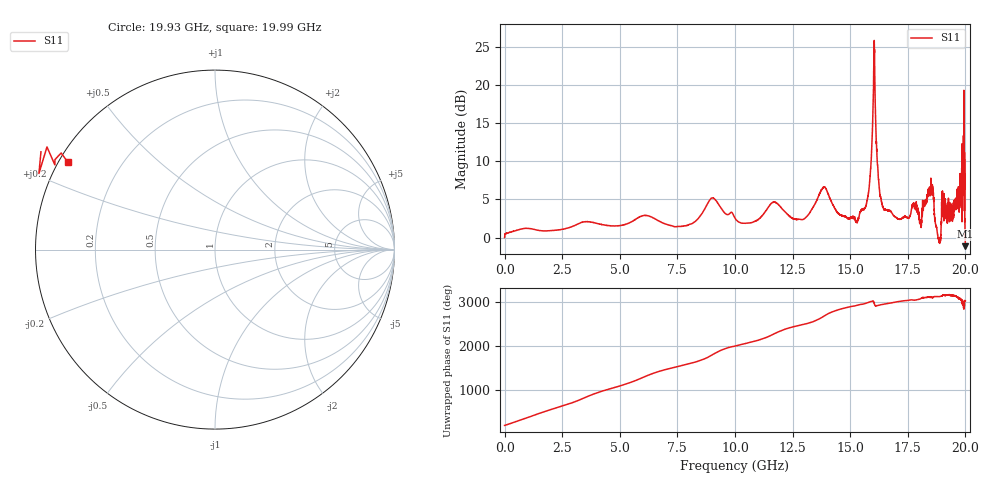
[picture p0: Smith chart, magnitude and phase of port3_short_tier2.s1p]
! Created with skrf 1.8.0 (http://scikit-rf.org).
# GHz S RI R 50.0
!freq ReS11 ImS11
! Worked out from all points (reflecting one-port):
!   10001 points, 1 MHz to 20 GHz, reference 50 ohm
!   lowest |S11| = -1.1 dB at 20 GHz (marker M1), VSWR 15.36, Z = 3.52 + j14.1 ohm
!   phase of S11 starts at 180 deg and turns +2848 deg over the sweep
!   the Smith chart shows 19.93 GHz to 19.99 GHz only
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0.001  -1 0.00044
0.9729514  1.144 -0.1126
2.500875  -0.1321 -1.124
3.432828  0.1025 1.263
4.300785  -0.2824 -1.179
5.00075  1.194 0.085
5.908705  -1.377 0.0738
6.736663  1.219 -0.3805
7.500625  0.0543 1.179
8.356582  -1.205 -0.5068
9.034548  1.821 0.1003
10.0005  -1.282 -0.3913
11.17044  1.383 -0.0776
11.61442  -0.1598 1.684
12.50038  0.105 -1.335
13.34433  1.378 0.6936
13.9163  -2.122 -0.0178
14.24029  -0.1719 -1.641
15.00025  1.283 0.4336
15.68422  -0.2031 1.608
15.88221  -1.913 1.989
15.9442  -3.306 2.472
16.0462  0.6664 19.07
16.14619  3 2.57
16.25619  1.325 1.729
17.50013  -1.281 0.4006
19.58402  -0.2225 -1.508
20  -0.7471 0.4608
